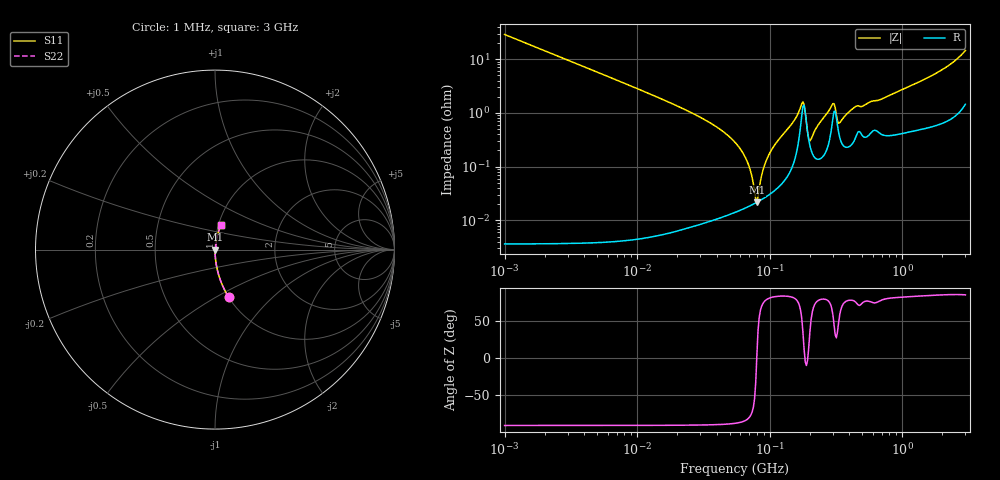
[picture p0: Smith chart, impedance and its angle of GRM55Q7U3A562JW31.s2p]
!Murata Part Number: GRM55Q7U3A562JW31
!These Parameters are Measured in Series Mode Connection
!Data Generated on Mar 30, 2021
!  o--ll--o
!Port1  Port2
!  o------o
!Operation Temp=25[degC], DC Bias Voltage=0[V]
!Freq. Start=1000[kHz] Stop=3[GHz] 401[Steps]
# Hz S RI R 50
!Freq.(Hz) S11(Real) S11(Imag) S21(Real) S21(Imag) S12(Real) S12(Imag) S22(Real) S22(Imag)
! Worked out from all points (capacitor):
!   401 points, 1 MHz to 3 GHz, reference 50 ohm
!   read as one part in series: C = 5.52 nF near 1.041 MHz
!   lowest |Z| = 21.8 mohm at 80.12 MHz (marker M1)
!   series resonance near 79.95 MHz, so ESL is about 720 pH
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1000000  0.0767 -0.2661  0.9233 0.2661  0.9233 0.2661  0.0767 -0.2661
3823119  0.00566 -0.0748  0.9943 0.0748  0.9943 0.0748  0.00566 -0.0748
1.461624e7  0.000416 -0.0191  0.9996 0.0191  0.9996 0.0191  0.000416 -0.0191
3.456417e7  0.00014 -0.0068  0.9999 0.0068  0.9999 0.0068  0.00014 -0.0068
5.477226e7  0.000148 -0.00283  0.9999 0.00283  0.9999 0.00283  0.000148 -0.00283
6.826239e7  0.000179 -0.00117  0.9998 0.00117  0.9998 0.00117  0.000179 -0.00117
7.697298e7  0.000206 -0.000283  0.9998 0.000283  0.9998 0.000283  0.000206 -0.000283
8.011685e7  0.000217 1.57e-05  0.9998 -1.57e-05  0.9998 -1.57e-05  0.000217 1.57e-05
9.034013e7  0.000259 0.000931  0.9997 -0.000931  0.9997 -0.000931  0.000259 0.000931
9.984923e7  0.000307 0.00173  0.9997 -0.00173  0.9997 -0.00173  0.000307 0.00173
1.520175e8  0.00123 0.0069  0.9988 -0.0069  0.9988 -0.0069  0.00123 0.0069
1.748812e8  0.00916 0.0115  0.9908 -0.0115  0.9908 -0.0115  0.00916 0.0115
1.820241e8  0.0138 0.00272  0.9862 -0.00272  0.9862 -0.00272  0.0138 0.00272
1.971969e8  0.00317 0.000782  0.9968 -0.000782  0.9968 -0.000782  0.00317 0.000782
2.094008e8  0.00178 0.00315  0.9982 -0.00315  0.9982 -0.00315  0.00178 0.00315
2.942768e8  0.00565 0.0124  0.9943 -0.0124  0.9943 -0.0124  0.00565 0.0124
3.062963e8  0.0106 0.0102  0.9894 -0.0102  0.9894 -0.0102  0.0106 0.0102
3.385367e8  0.00345 0.00557  0.9965 -0.00557  0.9965 -0.00557  0.00345 0.00557
4.391493e8  0.00335 0.0124  0.9966 -0.0124  0.9966 -0.0124  0.00335 0.0124
8.005644e8  0.00418 0.0207  0.9958 -0.0207  0.9958 -0.0207  0.00418 0.0207
1.855641e9  0.00905 0.0558  0.991 -0.0558  0.991 -0.0558  0.00905 0.0558
3e9  0.0338 0.1374  0.9662 -0.1374  0.9662 -0.1374  0.0338 0.1374
